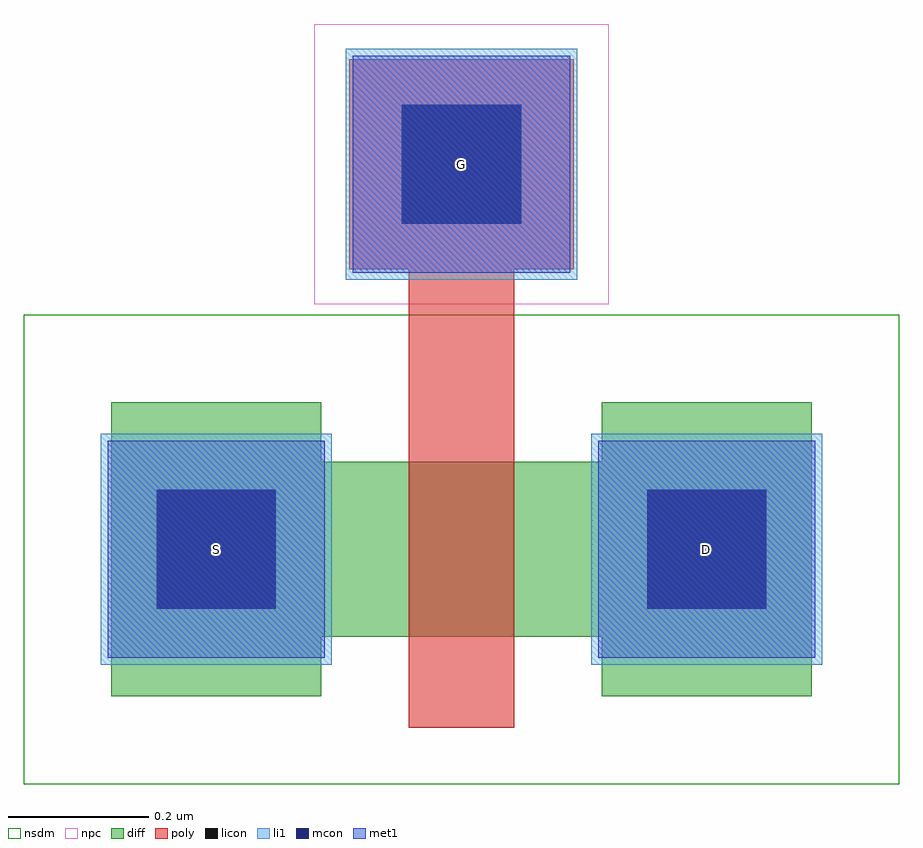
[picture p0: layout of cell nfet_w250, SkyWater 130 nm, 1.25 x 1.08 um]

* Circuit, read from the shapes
.subckt nfet_w250 D G S
XM1 D G S VSUBS sky130_fd_pr__nfet_01v8 w=0.25 l=0.15
.ends

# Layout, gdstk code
import gdstk
lib = gdstk.Library(unit=1e-6, precision=1e-09)
def R(c, l, rs):  # rectangles x0, y0, x1, y1
    for r in rs: c.add(gdstk.rectangle(r[:2], r[2:], *l))
def P(c, l, *ps):  # polygons
    for p in ps: c.add(gdstk.Polygon(p, *l))
diff = (65, 20)
poly = (66, 20)
licon = (66, 44)
li1 = (67, 20)
mcon = (67, 44)
met1 = (68, 20)
nsdm = (93, 44)
npc = (95, 20)

nfet_w250 = lib.new_cell('nfet_w250')
P(nfet_w250, diff, [(-0.5,0.21),(-0.5,-0.21),(-0.2,-0.21),(-0.2,-0.125),(0.2,-0.125),(0.2,-0.21),(0.5,-0.21),(0.5,0.21),(0.2,0.21),(0.2,0.125),(-0.2,0.125),(-0.2,0.21)])
P(nfet_w250, poly, [(0.075,-0.255),(0.075,0.4),(0.16,0.4),(0.16,0.7),(-0.16,0.7),(-0.16,0.4),(-0.075,0.4),(-0.075,-0.255)])
R(nfet_w250, licon, [(-0.435,-0.085,-0.265,0.085), (0.265,-0.085,0.435,0.085), (-0.085,0.465,0.085,0.635)])
R(nfet_w250, li1, [(-0.515,-0.165,-0.185,0.165), (0.185,-0.165,0.515,0.165), (-0.165,0.385,0.165,0.715)])
R(nfet_w250, mcon, [(-0.435,-0.085,-0.265,0.085), (0.265,-0.085,0.435,0.085), (-0.085,0.465,0.085,0.635)])
R(nfet_w250, met1, [(-0.505,-0.155,-0.195,0.155), (0.195,-0.155,0.505,0.155), (-0.155,0.395,0.155,0.705)])
R(nfet_w250, nsdm, [(-0.625,-0.335,0.625,0.335)])
R(nfet_w250, npc, [(-0.21,0.35,0.21,0.75)])
nfet_w250.add(gdstk.Label('S', (-0.35,0), layer=68, texttype=5))
nfet_w250.add(gdstk.Label('D', (0.35,0), layer=68, texttype=5))
nfet_w250.add(gdstk.Label('G', (0,0.55), layer=68, texttype=5))

lib.write_gds('nfet_w250.gds')
